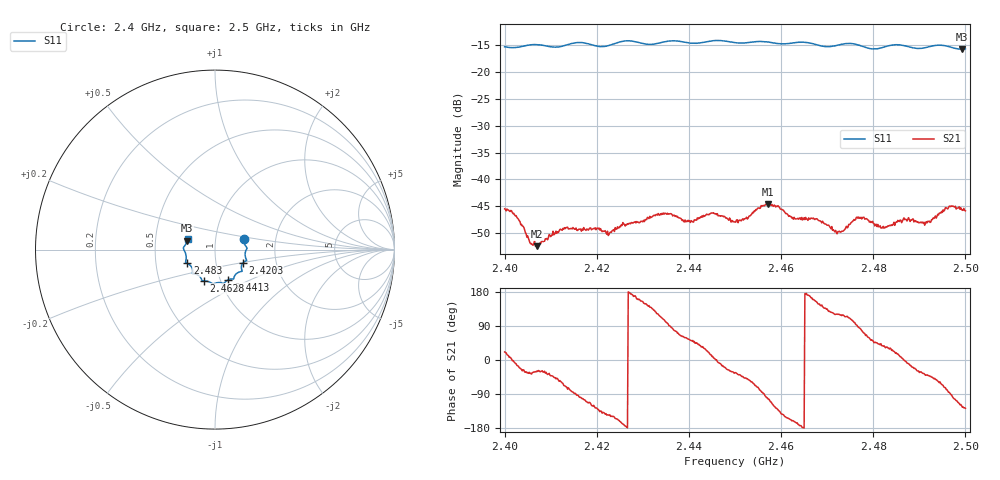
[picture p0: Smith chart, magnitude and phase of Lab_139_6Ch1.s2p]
# Hz S RI R 50
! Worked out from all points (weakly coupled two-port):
!   601 points, 2.4 GHz to 2.5 GHz, reference 50 ohm
!   highest |S21| = -44.57 dB at 2.4572 GHz (marker M1); lowest = -52.4 dB at 2.407 GHz (marker M2)
!   lowest |S11| = -15.8 dB at 2.4993 GHz (marker M3), VSWR 1.39, Z = 36.5 + j3.73 ohm
!   |S11| at or under -10 dB: start of sweep to end of sweep
!   S12 and S22 are empty: the file has one direction only
!   S11 on the Smith chart (normalised r, x): 2.4 GHz: 1.37, +0.16; 2.4203 GHz: 1.35, -0.21; 2.4413 GHz: 1.09, -0.38; 2.4628 GHz: 0.83, -0.30; 2.483 GHz: 0.72, -0.11; 2.5 GHz: 0.73, +0.09
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2.4e9  0.1606 0.0572  0.00497 0.00194  0 0  0 0
2.402e9  0.1636 0.0354  0.00483 -0.000371  0 0  0 0
2.407e9  0.1786 0.00727  0.00209 -0.00118  0 0  0 0
2.413167e9  0.1703 -0.0442  0.00125 -0.00326  0 0  0 0
2.416667e9  0.1763 -0.0615  -0.0006 -0.00325  0 0  0 0
2.420333e9  0.1552 -0.0739  -0.00225 -0.00264  0 0  0 0
2.422667e9  0.1468 -0.0959  -0.00255 -0.00173  0 0  0 0
2.433333e9  0.1082 -0.1486  -0.00248 0.00413  0 0  0 0
2.441333e9  0.0744 -0.1679  0.003 0.00291  0 0  0 0
2.445333e9  0.0516 -0.1874  0.00488 0.000503  0 0  0 0
2.45e9  0.0293 -0.1838  0.00336 -0.00222  0 0  0 0
2.457167e9  -0.0176 -0.188  -0.00132 -0.00576  0 0  0 0
2.462833e9  -0.0629 -0.1748  -0.00424 -0.00134  0 0  0 0
2.466667e9  -0.0742 -0.1675  -0.00418 0.00119  0 0  0 0
2.4725e9  -0.1148 -0.1349  -0.00168 0.00282  0 0  0 0
2.476833e9  -0.1245 -0.1256  0.000311 0.00447  0 0  0 0
2.483e9  -0.1547 -0.0767  0.00299 0.00204  0 0  0 0
2.483333e9  -0.157 -0.0756  0.00314 0.00192  0 0  0 0
2.491667e9  -0.1685 -0.0102  0.00307 -0.00249  0 0  0 0
2.496833e9  -0.1676 0.0221  -9.05e-05 -0.00559  0 0  0 0
2.499333e9  -0.1542 0.0498  -0.00294 -0.00425  0 0  0 0
2.5e9  -0.1525 0.0587  -0.0031 -0.00405  0 0  0 0
